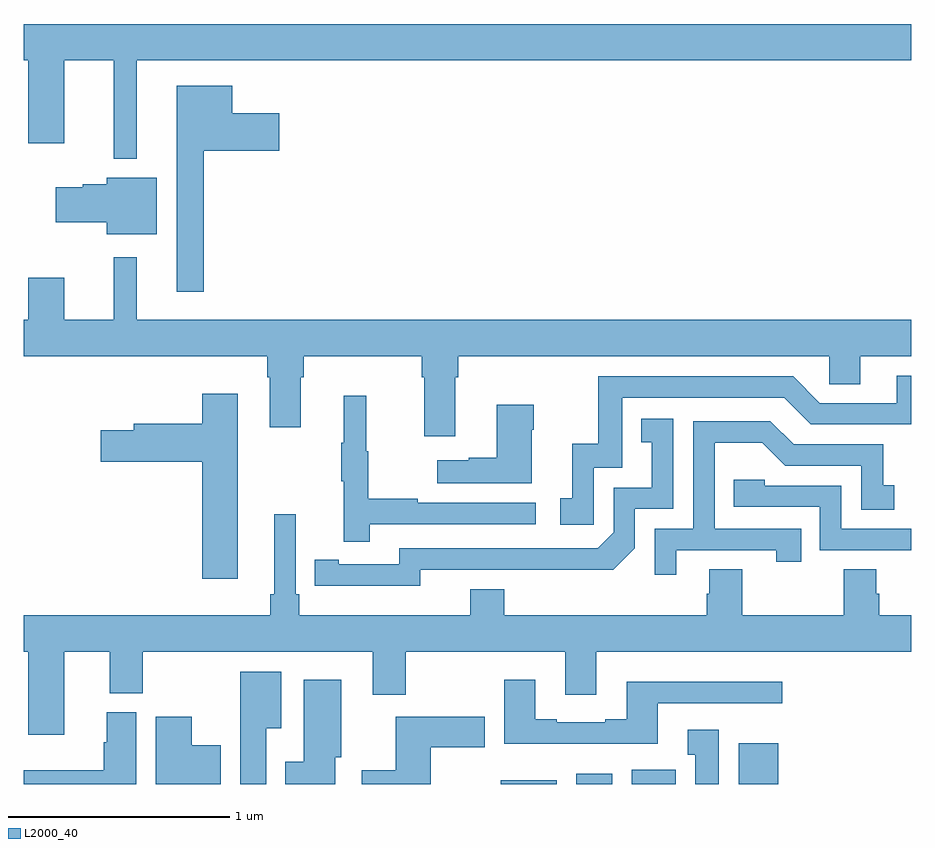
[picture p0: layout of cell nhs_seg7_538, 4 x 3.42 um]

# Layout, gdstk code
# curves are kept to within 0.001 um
import gdstk
lib = gdstk.Library(unit=1e-6, precision=1e-09)
def R(c, l, rs):  # rectangles x0, y0, x1, y1
    for r in rs: c.add(gdstk.rectangle(r[:2], r[2:], *l))
def P(c, l, *ps):  # polygons
    for p in ps: c.add(gdstk.Polygon(p, *l))
L2000_40 = (2000, 40)

nhs_seg7_538 = lib.new_cell('nhs_seg7_538')
R(nhs_seg7_538, L2000_40, [(155.15,1020,155.401,1020.016), (155.489,1020,155.653,1020.046), (155.741,1020,155.938,1020.064), (156.221,1020,156.4,1020.184)])
P(nhs_seg7_538, L2000_40, [(153.511,1023.26),(157,1023.26),(157,1023.424),(153,1023.424),(153,1023.26),(153.02,1023.26),(153.02,1022.886),(153.184,1022.886),(153.184,1023.26),(153.407,1023.26),(153.407,1022.816),(153.511,1022.816)],
  [(153.811,1022.852),(154.153,1022.852),(154.153,1023.022),(153.94,1023.022),(153.94,1023.145),(153.689,1023.145),(153.689,1022.217),(153.811,1022.217)],
  [(153.601,1022.731),(153.374,1022.731),(153.374,1022.702),(153.267,1022.702),(153.267,1022.689),(153.144,1022.689),(153.144,1022.531),(153.374,1022.531),(153.374,1022.477),(153.601,1022.477)],
  [(154.945,1021.832),(154.958,1021.832),(154.958,1021.928),(156.63,1021.928),(156.63,1021.801),(156.769,1021.801),(156.769,1021.928),(157,1021.928),(157,1022.092),(153.511,1022.092),(153.511,1022.374),(153.407,1022.374),(153.407,1022.092),(153.184,1022.092),(153.184,1022.281),(153.02,1022.281),(153.02,1022.092),(153,1022.092),(153,1021.928),(154.097,1021.928),(154.097,1021.832),(154.109,1021.832),(154.109,1021.608),(154.249,1021.608),(154.249,1021.832),(154.262,1021.832),(154.262,1021.928),(154.793,1021.928),(154.793,1021.832),(154.805,1021.832),(154.805,1021.566),(154.945,1021.566)],
  [(155.568,1021.425),(155.697,1021.425),(155.697,1021.74),(156.426,1021.74),(156.546,1021.62),(157,1021.62),(157,1021.839),(156.935,1021.839),(156.935,1021.716),(156.588,1021.716),(156.468,1021.836),(155.589,1021.836),(155.589,1021.534),(155.471,1021.534),(155.471,1021.287),(155.418,1021.287),(155.418,1021.167),(155.568,1021.167)],
  [(153.964,1021.759),(153.806,1021.759),(153.806,1021.623),(153.497,1021.623),(153.497,1021.593),(153.348,1021.593),(153.348,1021.451),(153.806,1021.451),(153.806,1020.924),(153.964,1020.924)],
  [(154.559,1021.17),(155.308,1021.17),(155.308,1021.266),(154.775,1021.266),(154.775,1021.286),(154.552,1021.286),(154.552,1021.5),(154.544,1021.5),(154.544,1021.75),(154.442,1021.75),(154.442,1021.537),(154.431,1021.537),(154.431,1021.363),(154.442,1021.363),(154.442,1021.092),(154.559,1021.092)],
  [(155.29,1021.595),(155.298,1021.595),(155.298,1021.708),(155.132,1021.708),(155.132,1021.469),(155.006,1021.469),(155.006,1021.459),(154.863,1021.459),(154.863,1021.355),(155.29,1021.355)],
  [(154.788,1020.966),(155.656,1020.965),(155.754,1021.062),(155.754,1021.239),(155.928,1021.239),(155.928,1021.645),(155.782,1021.645),(155.782,1021.539),(155.831,1021.539),(155.831,1021.335),(155.658,1021.335),(155.658,1021.134),(155.586,1021.062),(154.692,1021.062),(154.692,1020.99),(154.42,1020.99),(154.42,1021.01),(154.312,1021.01),(154.312,1020.894),(154.788,1020.893)],
  [(155.941,1021.053),(156.392,1021.053),(156.392,1021.002),(156.503,1021.002),(156.503,1021.149),(156.114,1021.149),(156.114,1021.538),(156.328,1021.538),(156.432,1021.434),(156.774,1021.434),(156.774,1021.236),(156.922,1021.236),(156.922,1021.345),(156.873,1021.345),(156.873,1021.53),(156.469,1021.53),(156.364,1021.635),(156.018,1021.635),(156.018,1021.149),(155.844,1021.149),(155.844,1020.942),(155.941,1020.942)],
  [(157,1021.149),(156.684,1021.149),(156.684,1021.344),(156.339,1021.344),(156.339,1021.371),(156.199,1021.371),(156.199,1021.248),(156.588,1021.248),(156.588,1021.053),(157,1021.053)],
  [(153.184,1020.596),(153.389,1020.596),(153.389,1020.409),(153.537,1020.409),(153.537,1020.596),(154.574,1020.596),(154.574,1020.402),(154.722,1020.402),(154.722,1020.596),(155.441,1020.596),(155.441,1020.402),(155.581,1020.402),(155.581,1020.596),(157,1020.596),(157,1020.76),(156.854,1020.76),(156.854,1020.858),(156.841,1020.858),(156.841,1020.968),(156.694,1020.968),(156.694,1020.76),(156.237,1020.76),(156.237,1020.968),(156.089,1020.968),(156.089,1020.858),(156.077,1020.858),(156.077,1020.76),(155.165,1020.76),(155.165,1020.877),(155.012,1020.877),(155.012,1020.76),(154.241,1020.76),(154.241,1020.856),(154.227,1020.856),(154.227,1021.216),(154.13,1021.216),(154.13,1020.856),(154.111,1020.856),(154.111,1020.76),(153,1020.76),(153,1020.596),(153.02,1020.596),(153.02,1020.222),(153.184,1020.222)],
  [(154.093,1020.251),(154.162,1020.251),(154.162,1020.505),(153.977,1020.505),(153.977,1020),(154.093,1020)],
  [(154.405,1020.12),(154.432,1020.12),(154.432,1020.469),(154.262,1020.469),(154.262,1020.1),(154.178,1020.1),(154.178,1020),(154.405,1020)],
  [(155.857,1020.363),(156.418,1020.363),(156.418,1020.46),(155.717,1020.46),(155.717,1020.292),(155.621,1020.292),(155.621,1020.279),(155.401,1020.279),(155.401,1020.292),(155.305,1020.292),(155.305,1020.469),(155.165,1020.469),(155.165,1020.182),(155.857,1020.182)],
  [(153.508,1020.324),(153.374,1020.324),(153.374,1020.188),(153.362,1020.188),(153.362,1020.061),(153,1020.061),(153,1020),(153.508,1020)],
  [(153.889,1020.175),(153.757,1020.175),(153.757,1020.304),(153.596,1020.304),(153.596,1020),(153.889,1020)],
  [(154.835,1020.166),(155.077,1020.166),(155.077,1020.303),(154.676,1020.303),(154.676,1020.063),(154.524,1020.063),(154.524,1020),(154.835,1020)],
  [(156.133,1020.244),(155.993,1020.244),(155.993,1020.131),(156.026,1020.131),(156.026,1020),(156.133,1020)])

lib.write_gds('nhs_seg7_538.gds')
